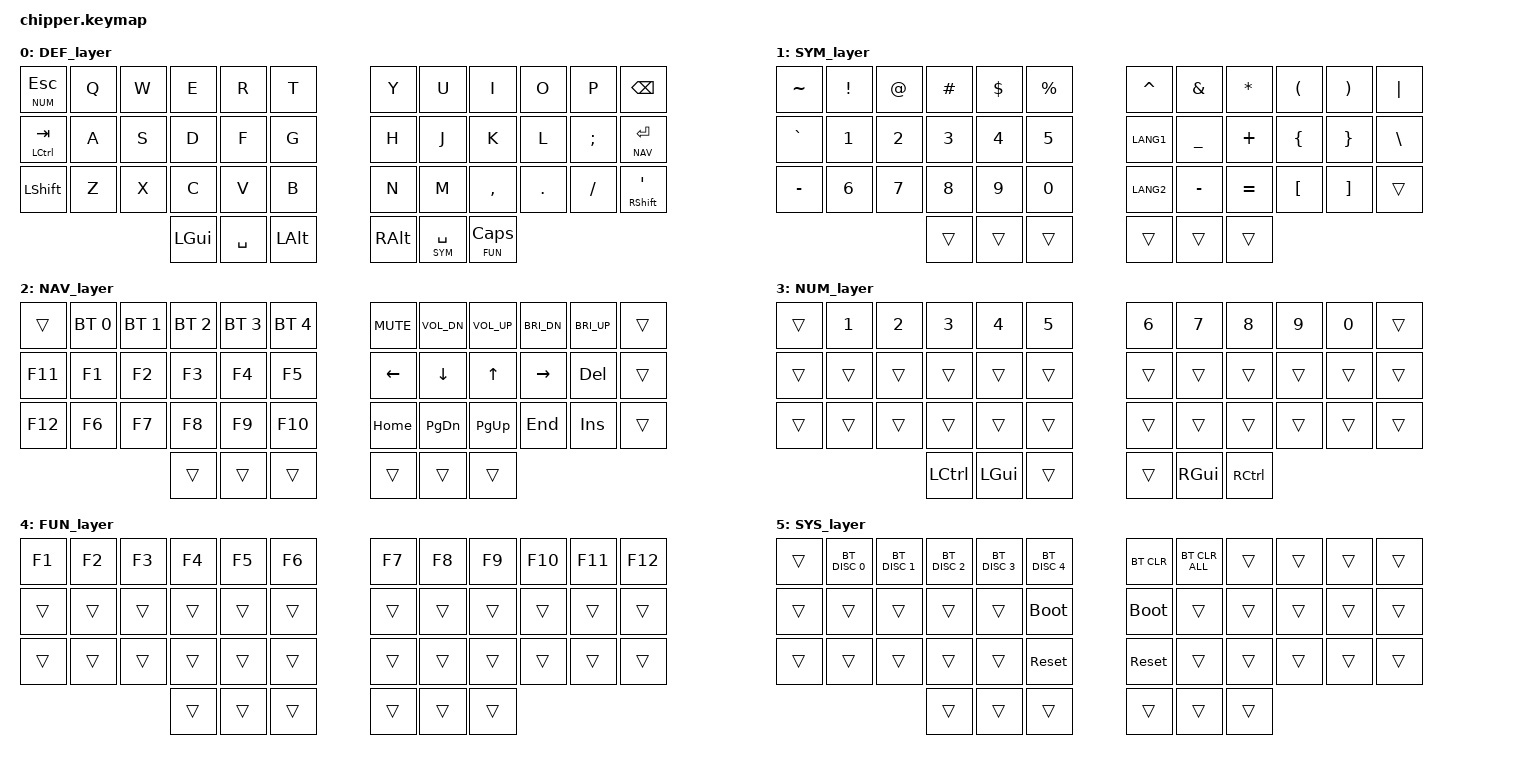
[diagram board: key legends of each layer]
#include <behaviors.dtsi>
#include <dt-bindings/zmk/keys.h>
#include <dt-bindings/zmk/bt.h>
#include <dt-bindings/zmk/outputs.h>

/* map 6 extra keys */
// #define X_LT  &mt LS(LC(LALT)) ESC
// #define X_LM  &mt RS(RC(RA(RGUI))) TAB
// #define X_LB  &kp GLOBE
// #define X_RT  &mt RS(RC(RA(RGUI))) DEL
// #define X_RM  &kp RALT
// #define X_RB  &kp RCTRL

#define XXX &none
#define ___ &trans

#define COMBO_TIMEOUT 60

#define DEF 0
#define SYM 1
#define NAV 2
#define NUM 3
#define FUN 4
#define SYS 5

/ {
    conditional_layers {
        compatible = "zmk,conditional-layers";
        tri_layer {
            if-layers = <1 4>;
            then-layer = <5>;
        };
    };
};


/ {
        keymap {
                compatible = "zmk,keymap";

                DEF_layer {
                        bindings = <
//╭──────╮ ╭─────────────┬─────────────┬─────────────┬─────────────┬─────────────╮ ╭──────╮ ╭─────────────┬─────────────┬─────────────┬─────────────┬─────────────╮ ╭──────╮
&lt NUM ESC    &kp Q         &kp W        &kp E         &kp R         &kp T                    &kp Y        &kp U         &kp I         &kp O         &kp P         &kp BSPC
//├──────┤ ├─────────────┼─────────────┼─────────────┼─────────────┼─────────────┤ ├──────┤ ├─────────────┼─────────────┼─────────────┼─────────────┼─────────────┤ ├──────┤
&mt LCTRL TAB  &kp A         &kp S        &kp D         &kp F         &kp G                    &kp H        &kp J         &kp K         &kp L         &kp SEMI      &lt NAV RET
//├──────┤ ├─────────────┼─────────────┼─────────────┼─────────────┼─────────────┤ ├──────┤ ├─────────────┼─────────────┼─────────────┼─────────────┼─────────────┤ ├──────┤
&kp LSHFT      &kp Z         &kp X        &kp C         &kp V         &kp B                    &kp N        &kp M         &kp COMMA     &kp DOT       &kp SLASH     &mt RSHFT SQT
//├──────┤ ╰─────────────┼─────────────┴─────────────┼─────────────┼─────────────┤ ├──────┤ ├─────────────┼─────────────┼─────────────┴───────────────────────────╯ ├──────┤
                                          &kp LGUI      &kp SPC       &kp LALT                 &kp RALT     &lt SYM SPC   &lt FUN CAPS 
//                                     ╰────────────┼──────────────┴─────────────╯ ╰──────╯ ╰─────────────┴─────────────┼─────────────╯
                        >;
                };

                SYM_layer {

                        bindings = <
//╭──────╮ ╭─────────────┬─────────────┬─────────────┬─────────────┬─────────────╮ ╭──────╮ ╭─────────────┬─────────────┬─────────────┬─────────────┬─────────────╮ ╭──────╮
 &kp TILDE    &kp EXCL      &kp AT        &kp HASH     &kp DLLR      &kp PRCNT                 &kp CARET     &kp AMPS     &kp STAR       &kp LPAR      &kp RPAR     &kp PIPE
//├──────┤ ├─────────────┼─────────────┼─────────────┼─────────────┼─────────────┤ ├──────┤ ├─────────────┼─────────────┼─────────────┼─────────────┼─────────────┤ ├──────┤
 &kp GRAVE    &kp N1        &kp N2        &kp N3        &kp N4        &kp N5                   &kp LANG1     &kp UNDER    &kp PLUS       &kp LBRC      &kp RBRC     &kp BSLH
//├──────┤ ├─────────────┼─────────────┼─────────────┼─────────────┼─────────────┤ ├──────┤ ├─────────────┼─────────────┼─────────────┼─────────────┼─────────────┤ ├──────┤
 &kp MINUS    &kp N6        &kp N7        &kp N8        &kp N9        &kp N0                   &kp LANG2     &kp MINUS    &kp EQUAL      &kp LBKT      &kp RBKT        ___
//├──────┤ ╰─────────────┼─────────────┴─────────────┼─────────────┼─────────────┤ ├──────┤ ├─────────────┼─────────────┼─────────────┴───────────────────────────╯ ├──────┤
    ___                                                  ___              ___                      ___           ___                                                   ___
//╰──────╯                                           ╰─────────────┴─────────────╯ ╰──────╯ ╰─────────────┴─────────────╯                                           ╰──────╯                                   
                        >;
                };

                NAV_layer {

                        bindings = <
//╭──────╮ ╭─────────────┬─────────────┬─────────────┬─────────────┬─────────────╮ ╭──────╮ ╭─────────────┬─────────────┬─────────────┬─────────────┬─────────────╮ ╭──────╮
    ___     &bt BT_SEL 0  &bt BT_SEL 1  &bt BT_SEL 2  &bt BT_SEL 3   &bt BT_SEL 4             &kp C_MUTE   &kp C_VOL_DN  &kp C_VOL_UP  &kp C_BRI_DN  &kp C_BRI_UP     ___
//├──────┤ ├─────────────┼─────────────┼─────────────┼─────────────┼─────────────┤ ├──────┤ ├─────────────┼─────────────┼─────────────┼─────────────┼─────────────┤ ├──────┤
  &kp F11      &kp F1         &kp F2       &kp F3         &kp F4       &kp F5                 &kp LEFT     &kp DOWN      &kp UP        &kp RIGHT      &kp DEL         ___
//├──────┤ ├─────────────┼─────────────┼─────────────┼─────────────┼─────────────┤ ├──────┤ ├─────────────┼─────────────┼─────────────┼─────────────┼─────────────┤ ├──────┤
  &kp F12      &kp F6         &kp F7       &kp F8         &kp F9       &kp F10                &kp HOME     &kp PG_DN     &kp PG_UP     &kp END        &kp INS         ___
//├──────┤ ╰─────────────┼─────────────┴─────────────┼─────────────┼─────────────┤ ├──────┤ ├─────────────┼─────────────┼─────────────┴───────────────────────────╯ ├──────┤
    ___                                                    ___           ___                      ___           ___                                                   ___
//╰──────╯                                           ╰─────────────┴─────────────╯ ╰──────╯ ╰─────────────┴─────────────╯                                           ╰──────╯
                        >;
		        };
		
		        NUM_layer {

                        bindings = <
//╭──────╮ ╭─────────────┬─────────────┬─────────────┬─────────────┬─────────────╮ ╭──────╮ ╭─────────────┬─────────────┬─────────────┬─────────────┬─────────────╮ ╭──────╮
    ___         &kp N1        &kp N2       &kp N3        &kp N4        &kp N5                    &kp N6        &kp N7       &kp N8         &kp N9        &kp N0       ___
//├──────┤ ├─────────────┼─────────────┼─────────────┼─────────────┼─────────────┤ ├──────┤ ├─────────────┼─────────────┼─────────────┼─────────────┼─────────────┤ ├──────┤
    ___           ___           ___           ___           ___          ___                      ___          ___           ___           ___           ___          ___
//├──────┤ ├─────────────┼─────────────┼─────────────┼─────────────┼─────────────┤ ├──────┤ ├─────────────┼─────────────┼─────────────┼─────────────┼─────────────┤ ├──────┤
    ___           ___           ___           ___           ___          ___                      ___          ___           ___           ___           ___          ___
//├──────┤ ╰─────────────┼─────────────┴─────────────┼─────────────┼─────────────┤ ├──────┤ ├─────────────┼─────────────┼─────────────┴───────────────────────────╯ ├──────┤
  &kp LCTRL                                              &kp LGUI        ___                      ___        &kp RGUI                                               &kp RCTRL
//╰──────╯                                           ╰─────────────┴─────────────╯ ╰──────╯ ╰─────────────┴─────────────╯                                           ╰──────╯
                        >;
		        };

        		FUN_layer {

                        bindings = <
//╭──────╮ ╭─────────────┬─────────────┬─────────────┬─────────────┬─────────────╮ ╭─────────────┬─────────────┬─────────────┬─────────────┬─────────────╮ ╭──────╮
   &kp F1      &kp F2        &kp F3         &kp F4       &kp F5         &kp F6          &kp F7       &kp F8         &kp F9       &kp F10       &kp F11     &kp F12
//├──────┤ ├─────────────┼─────────────┼─────────────┼─────────────┼─────────────┤ ├─────────────┼─────────────┼─────────────┼─────────────┼─────────────┤ ├──────┤
    ___         ___           ___           ___           ___            ___             ___           ___           ___           ___           ___         ___ 
//├──────┤ ├─────────────┼─────────────┼─────────────┼─────────────┼─────────────┤ ├─────────────┼─────────────┼─────────────┼─────────────┼─────────────┤ ├──────┤
    ___         ___           ___           ___            ___           ___             ___           ___           ___           ___           ___         ___ 
//├──────┤ ╰─────────────┼─────────────┴─────────────┼─────────────┼─────────────┤ ├─────────────┼─────────────┼─────────────┴───────────────────────────╯ ├──────┤
    ___                                                    ___           ___             ___           ___                                                   ___
//╰──────╯                                           ╰─────────────┴─────────────╯ ╰─────────────┴─────────────╯                                           ╰──────╯
                        >;
		        };
 
        		SYS_layer {

                        bindings = <
//╭──────╮ ╭─────────────┬─────────────┬─────────────┬─────────────┬─────────────╮ ╭─────────────┬─────────────┬─────────────┬─────────────┬─────────────╮ ╭──────╮
    ___     &bt BT_DISC 0 &bt BT_DISC 1 &bt BT_DISC 2 &bt BT_DISC 3 &bt BT_DISC 4    &bt BT_CLR  &bt BT_CLR_ALL      ___           ___           ___         ___ 
//├──────┤ ├─────────────┼─────────────┼─────────────┼─────────────┼─────────────┤ ├─────────────┼─────────────┼─────────────┼─────────────┼─────────────┤ ├──────┤
    ___         ___           ___           ___            ___       &bootloader     &bootloader       ___           ___           ___           ___         ___ 
//├──────┤ ├─────────────┼─────────────┼─────────────┼─────────────┼─────────────┤ ├─────────────┼─────────────┼─────────────┼─────────────┼─────────────┤ ├──────┤
    ___         ___           ___           ___            ___       &sys_reset      &sys_reset        ___           ___           ___           ___         ___ 
//├──────┤ ╰─────────────┼─────────────┴─────────────┼─────────────┼─────────────┤ ├─────────────┼─────────────┼─────────────┴───────────────────────────╯ ├──────┤
    ___                                                    ___           ___             ___           ___                                                   ___
//╰──────╯                                           ╰─────────────┴─────────────╯ ╰─────────────┴─────────────╯                                           ╰──────╯
                        >;
		        };
        };
};
